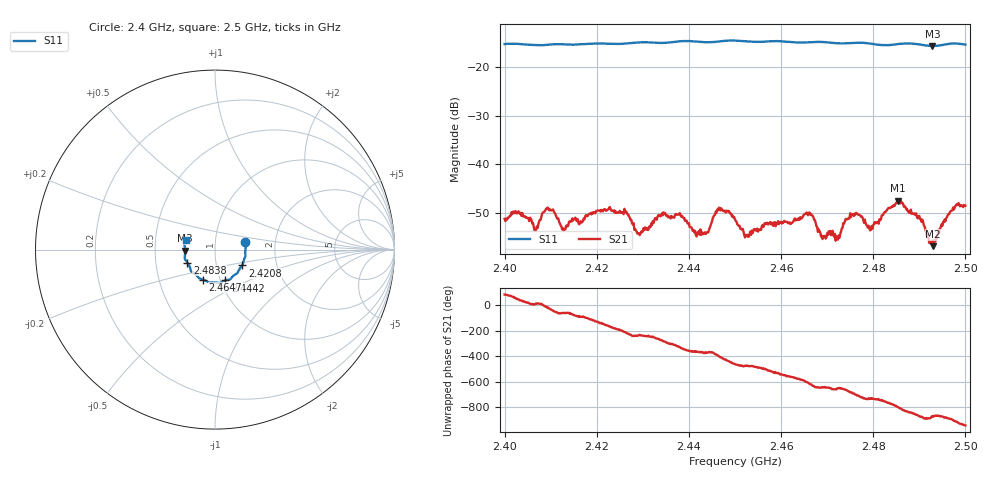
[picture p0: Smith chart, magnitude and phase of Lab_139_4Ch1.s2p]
# Hz S RI R 50
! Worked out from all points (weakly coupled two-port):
!   601 points, 2.4 GHz to 2.5 GHz, reference 50 ohm
!   highest |S21| = -47.52 dB at 2.4853 GHz (marker M1); lowest = -56.9 dB at 2.493 GHz (marker M2)
!   lowest |S11| = -15.6 dB at 2.4928 GHz (marker M3), VSWR 1.40, Z = 35.8 - j0.398 ohm
!   |S11| at or under -10 dB: start of sweep to end of sweep
!   S12 and S22 are empty: the file has one direction only
!   S11 on the Smith chart (normalised r, x): 2.4 GHz: 1.40, +0.12; 2.4208 GHz: 1.33, -0.24; 2.4442 GHz: 1.05, -0.37; 2.4647 GHz: 0.83, -0.29; 2.4838 GHz: 0.73, -0.11; 2.5 GHz: 0.72, +0.08
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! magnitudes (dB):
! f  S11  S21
! 2.4 GHz  -15.2  -51.3
! 2.4095 GHz  -15.3  -49.1
! 2.4167 GHz  -15.3  -52.0
! 2.4208 GHz  -15.1  -49.8
! 2.4265 GHz  -15.1  -50.0
! 2.4292 GHz  -14.9  -54.3
! 2.4333 GHz  -15.0  -50.6
! 2.4442 GHz  -14.9  -54.1
! 2.4467 GHz  -14.7  -49.0
! 2.45 GHz  -14.5  -51.4
! 2.4525 GHz  -14.7  -54.6
! 2.4647 GHz  -14.9  -50.9
! 2.4667 GHz  -14.8  -50.6
! 2.4723 GHz  -15.1  -55.6
! 2.4755 GHz  -15.0  -50.4
! 2.4793 GHz  -15.1  -53.6
! 2.4833 GHz  -15.4  -49.0
! 2.4838 GHz  -15.4  -48.9
! 2.4853 GHz  -15.2  -47.5
! 2.4928 GHz  -15.6  -55.7
! 2.493 GHz  -15.6  -56.9
! 2.5 GHz  -15.3  -48.6
